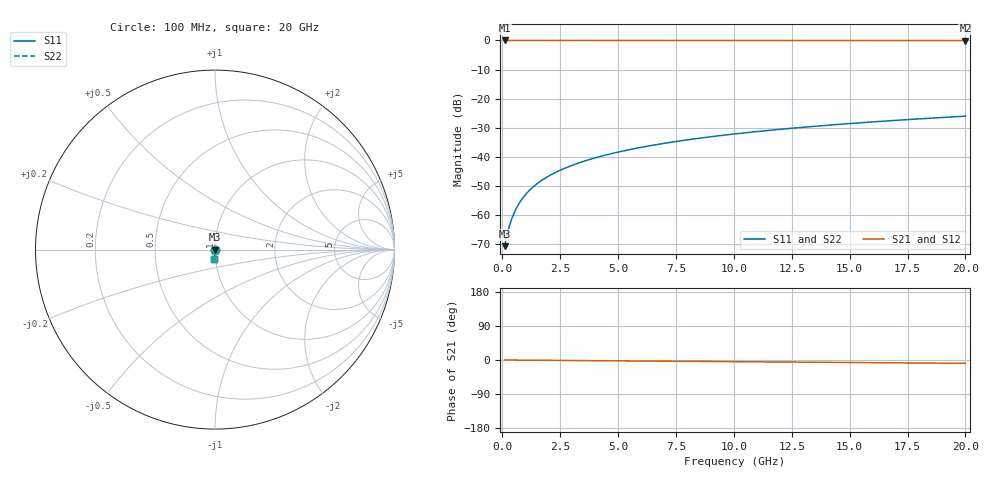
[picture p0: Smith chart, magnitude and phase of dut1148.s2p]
! Touchstone file exported from HFSS 2026.1.0
!  File:  C:/ffzhzh/LocalFiles/Ansys_Project_Files/temp_train_TSV_1148_1783191533_22436.aedt
!  Generated:  03:00:17 AM Jul  5, 2026
!  Design:  TSV
!  Project:  temp_train_TSV_1148_1783191533_22436
! Variables:
!  h_bsmrdl = 2um
!  h_ox = 20um
!  h_rdl = 5um
!  h_sub = 90um
!  h_tmrdl = 5um
!  h_tsv = 90um
!  h_via = 3um
!  l_bsmrdl = 300um
!  l_sub = 415.36um
!  l_tmrdl = 200um
!  m_sub = 200um
!  pitch = 23.07um
!  r_tsv = 7.68um
!  s_tmrdl = 10um
!  w_bsmrdl = 18um
!  w_sub = 500um
!  w_tmrdl = 12um
!  x_tsv_center1 = 206um
!  x_tsv_center2 = 524um
!  x_tsv_center3 = 736um
!  x_tsv_center4 = 1054um
!  x_tsv_center5 = 1266um
!  x_tsv_center6 = 1584um
# GHz S MA R 50.000000
! Terminal data exported
! Port[1] = TSV1_1_T1
! Port[2] = TSV1_1_T2
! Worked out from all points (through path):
!   200 points, 100 MHz to 20 GHz, reference 50 ohm
!   highest |S21| = 0.00 dB at 100 MHz (marker M1); lowest = 0.0 dB at 20 GHz (marker M2)
!   group delay of S21, straight-line fit = 1.21 ps
!   lowest |S11| = -70.7 dB at 100 MHz (marker M3), VSWR 1.00, Z = 50 - j0.0183 ohm
!   |S11| at or under -10 dB: start of sweep to end of sweep
!   |S22| runs from -70.7 to -26.0 dB; largest |S21 - S12| = 4.4e-15
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0.1  0.0002912 -39.0  0.9998 -0.0  0.9998 -0.0  0.0002912 -39.0
! Gamma 0 0 0 0
! Port Impedance 50 0 50 0
0.2  0.000447 -56.4  0.9998 -0.1  0.9998 -0.1  0.000447 -56.4
0.3  0.0006352 -64.1  0.9997 -0.1  0.9997 -0.1  0.0006352 -64.1
0.4  0.0008413 -68.2  0.9997 -0.2  0.9997 -0.2  0.0008413 -68.2
0.5  0.00106 -70.9  0.9996 -0.2  0.9996 -0.2  0.00106 -70.9
0.6  0.001287 -72.8  0.9996 -0.3  0.9996 -0.3  0.001287 -72.8
0.8  0.001756 -75.6  0.9995 -0.4  0.9995 -0.4  0.001756 -75.6
1.1  0.002478 -78.5  0.9995 -0.5  0.9995 -0.5  0.002478 -78.5
1.3  0.002963 -79.8  0.9994 -0.6  0.9994 -0.6  0.002963 -79.8
1.5  0.003449 -80.9  0.9994 -0.7  0.9994 -0.7  0.003449 -80.9
1.8  0.004178 -82.2  0.9994 -0.8  0.9994 -0.8  0.004178 -82.2
2.1  0.004908 -83.2  0.9993 -0.9  0.9993 -0.9  0.004908 -83.2
2.7  0.006372 -84.6  0.9992 -1.2  0.9992 -1.2  0.006372 -84.6
3.5  0.008335 -85.9  0.9991 -1.6  0.9991 -1.6  0.008335 -85.9
4.2  0.01007 -86.7  0.999 -1.9  0.999 -1.9  0.01007 -86.7
5  0.01206 -87.5  0.9989 -2.2  0.9989 -2.2  0.01206 -87.5
6.8  0.01657 -88.9  0.9987 -3.0  0.9987 -3.0  0.01657 -88.9
8.3  0.02035 -90.0  0.9985 -3.7  0.9985 -3.7  0.02035 -90.0
10.1  0.0249 -91.1  0.9982 -4.4  0.9982 -4.4  0.0249 -91.1
13.4  0.03325 -93.0  0.9978 -5.9  0.9978 -5.9  0.03325 -93.0
16.7  0.04159 -94.8  0.9973 -7.3  0.9973 -7.3  0.04159 -94.8
20  0.04994 -96.4  0.9967 -8.8  0.9967 -8.8  0.04994 -96.4
